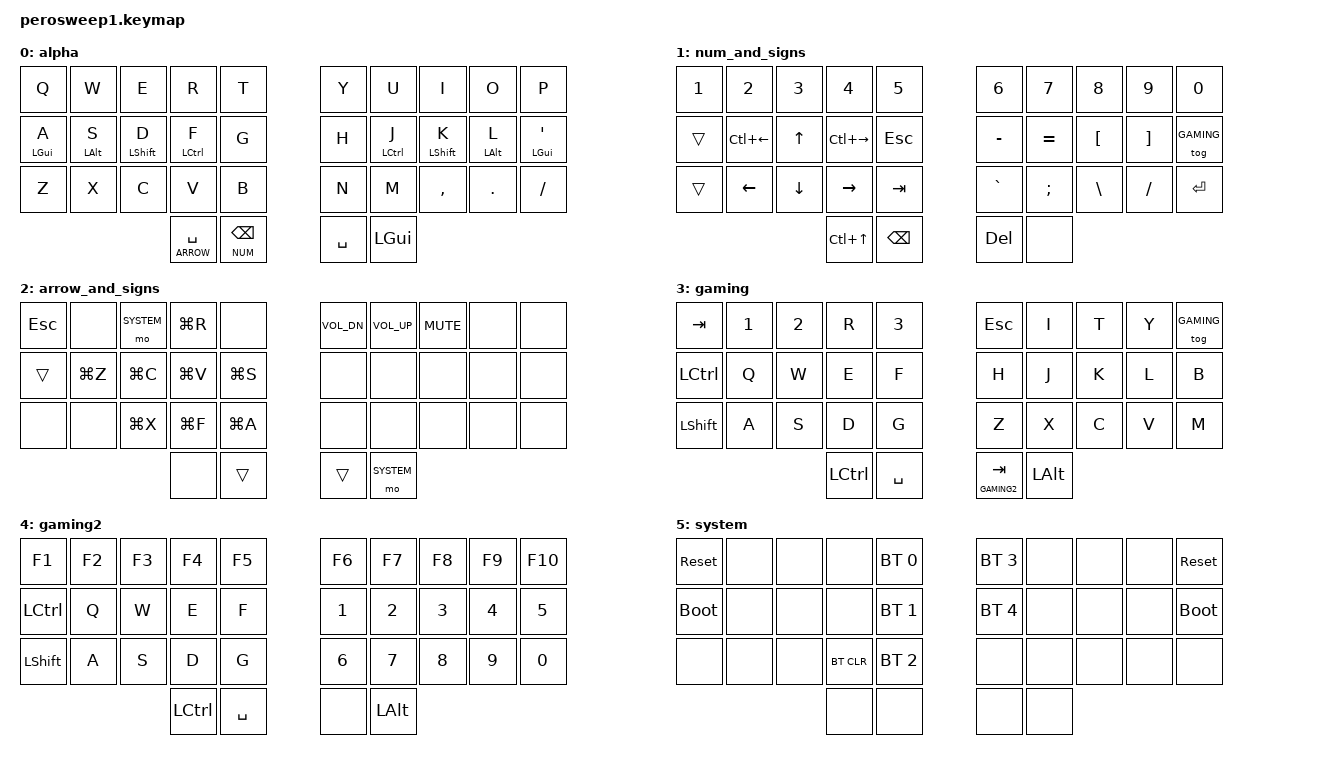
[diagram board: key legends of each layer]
#include <behaviors.dtsi>
#include <dt-bindings/zmk/keys.h>
#include <dt-bindings/zmk/bt.h>

#define ALPHA   0
#define NUM     1
#define ARROW   2
#define GAMING  3 
#define GAMING2 4
#define SYSTEM  5 

&mt {
    flavor = "balanced";//tap-preferred";
    quick-tap-ms = <200>;
};

&lt {
    quick-tap-ms = <200>;
};

/ {
    behaviors {
        td_caps_g: tap_dance_caps_g {
            compatible = "zmk,behavior-tap-dance";
            #binding-cells = <0>;
            tapping-term-ms = <200>;
            bindings = <&kp G>, <&kp CAPS>;
        };
    };

    keymap {
        compatible = "zmk,keymap";

        alpha {
        bindings = <

        &kp Q        &kp W        &kp E          &kp R         &kp T                  &kp Y   &kp U         &kp I          &kp O        &kp P
        &mt LGUI A   &mt LALT S   &mt LSHIFT D   &mt LCTRL F   &kp G                  &kp H   &mt LCTRL J   &mt LSHIFT K   &mt LALT L   &mt LGUI SINGLE_QUOTE 
        &kp Z        &kp X        &kp C          &kp V         &kp B                  &kp N   &kp M         &kp COMMA      &kp DOT      &kp SLASH

                                                 &lt ARROW SPACE  &lt NUM BKSP        &kp SPACE  &kp LGUI

        >;
        };

        num_and_signs {
        bindings = <

        &kp N1    &kp N2        &kp N3    &kp N4         &kp N5               &kp N6     &kp N7         &kp N8         &kp N9     &kp N0
        &trans    &kp LC(LEFT)  &kp UP    &kp LC(RIGHT)  &kp ESC              &kp MINUS  &kp EQUAL      &kp LBKT       &kp RBKT   &tog GAMING
        &trans    &kp LEFT      &kp DOWN  &kp RIGHT      &kp TAB              &kp GRAVE  &kp SEMICOLON  &kp BACKSLASH  &kp SLASH  &kp ENTER

                                              &kp LC(UP)  &kp BKSP              &kp DEL  &none
        >;
        };

        arrow_and_signs {
        bindings = <
// add lang change
        &kp ESC  &none      &mo SYSTEM  &kp LG(R)  &none             &kp C_VOL_DN  &kp C_VOL_UP  &kp C_MUTE  &none  &none
        &trans   &kp LG(Z)  &kp LG(C)   &kp LG(V)  &kp LG(S)         &none         &none         &none       &none  &none  
        &none    &none      &kp LG(X)   &kp LG(F)  &kp LG(A)         &none         &none         &none       &none  &none

                                              &none  &trans         &trans      &mo SYSTEM
        >;
        };

        gaming {
        bindings = <

        &kp TAB     &kp N1  &kp N2  &kp R  &kp N3     &kp ESC  &kp I    &kp T  &kp Y  &tog GAMING 
        &kp LCTRL   &kp Q   &kp W   &kp E  &kp F      &kp H    &kp J    &kp K  &kp L  &kp B  
        &kp LSHIFT  &kp A   &kp S   &kp D  &kp G      &kp Z    &kp X    &kp C  &kp V  &kp M  
// add spam button if possible
// add mmo and fKeys layer
                            &kp LCTRL  &kp SPACE      &lt GAMING2 TAB  &kp LALT
        >;
        };

        gaming2 {
        bindings = <

        &kp F1     &kp F2  &kp F3  &kp F4  &kp F5     &kp F6  &kp F7    &kp F8  &kp F9  &kp F10 
        &kp LCTRL   &kp Q   &kp W   &kp E  &kp F      &kp 1    &kp 2    &kp 3  &kp 4  &kp 5  
        &kp LSHIFT  &kp A   &kp S   &kp D  &kp G      &kp 6    &kp 7    &kp 8  &kp 9  &kp 0  
// add spam button if possible
// add mmo and fKeys layer
                            &kp LCTRL  &kp SPACE      &none  &kp LALT
        >;
        };//

        system {
        bindings = <

        &sys_reset   &none  &none  &none      &bt BT_SEL 0    &bt BT_SEL 3  &none  &none  &none  &sys_reset
        &bootloader  &none  &none  &none      &bt BT_SEL 1    &bt BT_SEL 4  &none  &none  &none  &bootloader
        &none        &none  &none  &bt BT_CLR &bt BT_SEL 2    &none         &none  &none  &none  &none

                                              &none  &none    &none  &none
        >;
        };
    };
};
